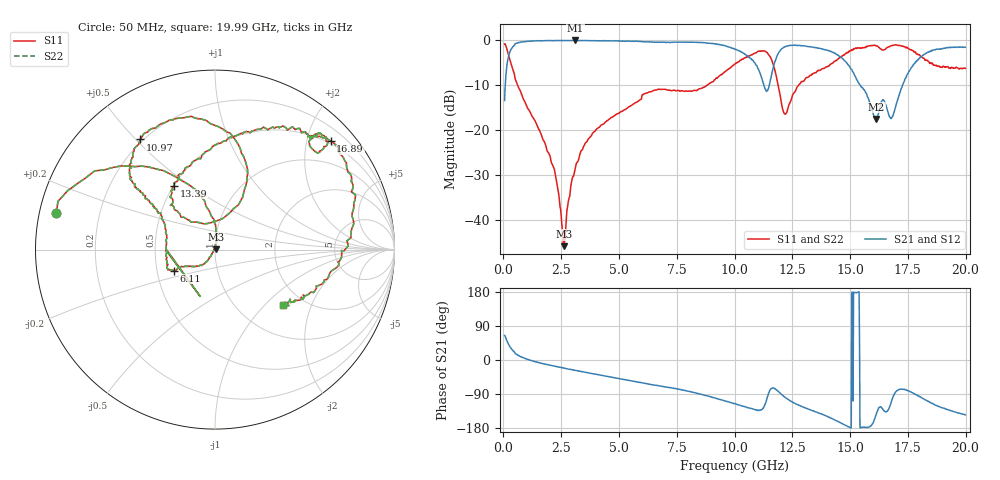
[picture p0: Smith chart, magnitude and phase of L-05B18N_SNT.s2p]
! Data Taken on a HP 8720C VNA using a shunt-through fixture with TRL* de-embedding
#	mhz	s	ma	r	50
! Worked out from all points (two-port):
!   998 points, 50 MHz to 19.99 GHz, reference 50 ohm
!   highest |S21| = -0.04 dB at 3.11 GHz (marker M1); lowest = -17.5 dB at 16.13 GHz (marker M2)
!   |S21| within 3 dB of the highest: 249.5 MHz to 10.43 GHz (10.18 GHz wide, 191 % of centre); 11.88 GHz to 14.39 GHz (2.507 GHz wide, 19.1 % of centre)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
!   lowest |S11| = -45.7 dB at 2.61 GHz (marker M3), VSWR 1.01, Z = 50.5 + j0.206 ohm
!   |S11| at or under -10 dB: 614.7 MHz to 8.804 GHz (8.189 GHz wide, 174 % of centre); 11.89 GHz to 12.78 GHz (887.9 MHz wide, 7.2 % of centre)
!   |S22| runs from -45.7 to -0.8 dB; largest |S21 - S12| = 0
!   S11 on the Smith chart (normalised r, x): 50 MHz: 0.05, +0.11; 6.11 GHz: 0.62, -0.15; 10.97 GHz: 0.19, +0.52; 13.39 GHz: 0.50, +0.44; 16.89 GHz: 0.45, +2.46; 19.99 GHz: 1.57, -1.28
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50  0.9075 167.1  0.2143 64.7  0.2143 64.7  0.9075 167.1
610  0.3186 106.3  0.9341 13.4  0.9341 13.4  0.3186 106.3
2170  0.03887 78.9  0.9903 -15.7  0.9903 -15.7  0.03887 78.9
2610  0.00516 23.3  0.9948 -21.3  0.9948 -21.3  0.00516 23.3
3110  0.03879 -125.6  0.9959 -27.4  0.9959 -27.4  0.03879 -125.6
3390  0.06031 -122.8  0.9913 -30.7  0.9913 -30.7  0.06031 -122.8
6110  0.2553 -152.8  0.9625 -61.5  0.9625 -61.5  0.2553 -152.8
6710  0.2858 -156.7  0.9537 -67.8  0.9537 -67.8  0.2858 -156.7
10030  0.5478 141.7  0.7945 -115.7  0.7945 -115.7  0.5478 141.7
10970  0.7413 124.1  0.5201 -132.6  0.5201 -132.6  0.7413 124.1
11390  0.7359 97.5  0.2711 -104.2  0.2711 -104.2  0.7359 97.5
11750  0.4611 66.8  0.582 -76.1  0.582 -76.1  0.4611 66.8
12190  0.1509 102.8  0.8484 -98.5  0.8484 -98.5  0.1509 102.8
13350  0.4211 124.4  0.8448 -133.2  0.8448 -133.2  0.4211 124.4
13390  0.4242 122.7  0.8371 -134.0  0.8371 -134.0  0.4242 122.7
14430  0.607 85.4  0.6957 -160.8  0.6957 -160.8  0.607 85.4
15030  0.7686 62.1  0.484 -178.9  0.484 -178.9  0.7686 62.1
16130  0.8642 44.3  0.134 -143.8  0.134 -143.8  0.8642 44.3
16670  0.8454 48.5  0.1497 -129.7  0.1497 -129.7  0.8454 48.5
16890  0.8831 43.1  0.1548 -92.6  0.1548 -92.6  0.8831 43.1
18290  0.602 -22.3  0.7203 -106.3  0.7203 -106.3  0.602 -22.3
19990  0.4879 -39.4  0.8364 -144.9  0.8364 -144.9  0.4879 -39.4
